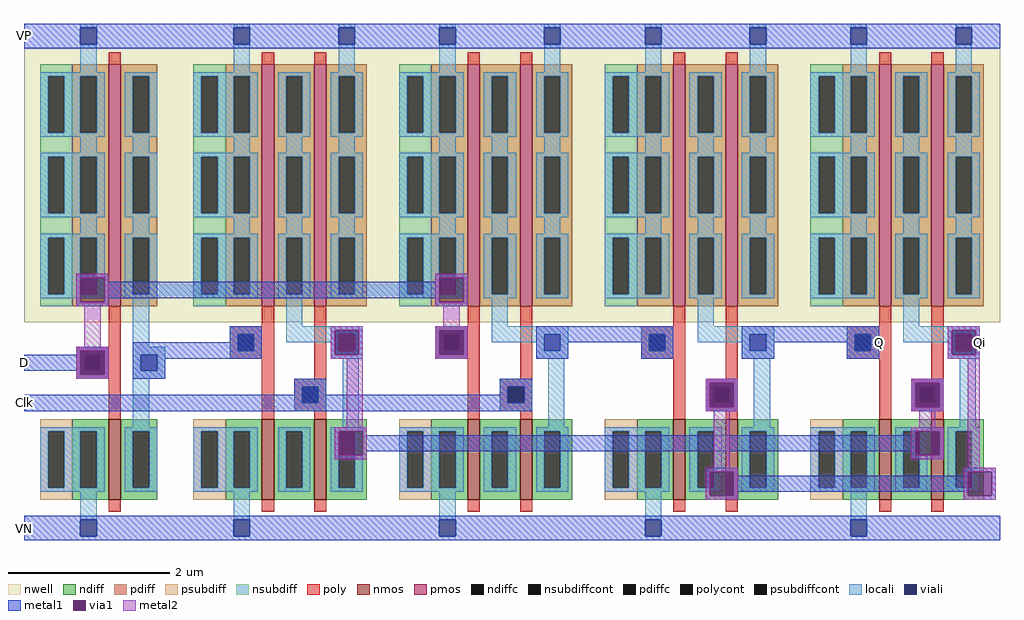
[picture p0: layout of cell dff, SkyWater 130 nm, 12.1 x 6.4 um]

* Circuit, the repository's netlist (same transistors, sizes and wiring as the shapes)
* NGSPICE file created from dff.ext - technology: sky130A

.subckt nand A B OUT VP VN
X0 OUT B a_30_0# VN sky130_fd_pr__nfet_01v8 ad=0.5 pd=3 as=0.25 ps=1.5 w=1 l=0.15
X1 a_30_0# A VN VN sky130_fd_pr__nfet_01v8 ad=0.25 pd=1.5 as=0.45 ps=2.9 w=1 l=0.15
X2 OUT A VP VP sky130_fd_pr__pfet_01v8 ad=0.75 pd=3.5 as=1.35 ps=6.9 w=3 l=0.15
X3 VP B OUT VP sky130_fd_pr__pfet_01v8 ad=1.5 pd=7 as=0.75 ps=3.5 w=3 l=0.15
.ends

.subckt inverter A OUT VP VN
X0 OUT A VN VN sky130_fd_pr__nfet_01v8 ad=0.45 pd=2.9 as=0.45 ps=2.9 w=1 l=0.15
X1 OUT A VP VP sky130_fd_pr__pfet_01v8 ad=1.35 pd=6.9 as=1.35 ps=6.9 w=3 l=0.15
.ends

.subckt dff D Clk Q Qi VP VN
Xnand_3 nand_3/A Qi Q VP VN nand
Xinverter_1 D nand_0/A VP VN inverter
Xnand_0 nand_0/A Clk nand_2/B VP VN nand
Xnand_1 D Clk nand_3/A VP VN nand
Xnand_2 Q nand_2/B Qi VP VN nand
.ends

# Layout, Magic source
magic
tech sky130A
<< poly >>
rect 1055 225 1060 265
<< locali >>
rect 1055 225 1060 265
rect 1180 225 1185 265
<< metal1 >>
rect 0 610 15 640
rect 65 325 105 330
rect 65 295 70 325
rect 100 320 105 325
rect 510 325 550 330
rect 510 320 515 325
rect 100 300 515 320
rect 100 295 105 300
rect 65 290 105 295
rect 510 295 515 300
rect 545 295 550 325
rect 510 290 550 295
rect 255 245 295 265
rect 65 235 105 240
rect 65 230 70 235
rect 0 210 70 230
rect 65 205 70 210
rect 100 205 105 235
rect 65 200 105 205
rect 135 225 295 245
rect 380 260 420 265
rect 380 230 385 260
rect 415 230 420 260
rect 380 225 420 230
rect 510 260 550 265
rect 510 230 515 260
rect 545 230 550 260
rect 510 225 550 230
rect 635 245 805 265
rect 635 225 675 245
rect 765 225 805 245
rect 890 245 1060 265
rect 890 225 930 245
rect 1020 225 1060 245
rect 1145 260 1185 265
rect 1145 230 1150 260
rect 1180 230 1185 260
rect 1145 225 1185 230
rect 135 200 175 225
rect 335 180 375 200
rect 845 195 885 200
rect 0 160 590 180
rect 845 165 850 195
rect 880 165 885 195
rect 845 160 885 165
rect 1100 195 1140 200
rect 1100 165 1105 195
rect 1135 165 1140 195
rect 1100 160 1140 165
rect 385 135 425 140
rect 385 105 390 135
rect 420 130 425 135
rect 1100 135 1140 140
rect 1100 130 1105 135
rect 420 110 1105 130
rect 420 105 425 110
rect 385 100 425 105
rect 1100 105 1105 110
rect 1135 105 1140 135
rect 1100 100 1140 105
rect 845 85 885 90
rect 845 55 850 85
rect 880 80 885 85
rect 1165 85 1205 90
rect 1165 80 1170 85
rect 880 60 1170 80
rect 880 55 885 60
rect 845 50 885 55
rect 1165 55 1170 60
rect 1200 55 1205 85
rect 1165 50 1205 55
rect 0 0 15 30
<< via1 >>
rect 70 295 100 325
rect 515 295 545 325
rect 70 205 100 235
rect 385 230 415 260
rect 515 230 545 260
rect 1150 230 1180 260
rect 850 165 880 195
rect 1105 165 1135 195
rect 390 105 420 135
rect 1105 105 1135 135
rect 850 55 880 85
rect 1170 55 1200 85
<< metal2 >>
rect 65 325 105 330
rect 65 295 70 325
rect 100 295 105 325
rect 65 290 105 295
rect 510 325 550 330
rect 510 295 515 325
rect 545 295 550 325
rect 510 290 550 295
rect 75 240 95 290
rect 520 265 540 290
rect 380 260 420 265
rect 65 235 105 240
rect 65 205 70 235
rect 100 205 105 235
rect 380 230 385 260
rect 415 230 420 260
rect 380 225 420 230
rect 510 260 550 265
rect 510 230 515 260
rect 545 230 550 260
rect 510 225 550 230
rect 1145 260 1185 265
rect 1145 230 1150 260
rect 1180 230 1185 260
rect 1145 225 1185 230
rect 65 200 105 205
rect 400 140 420 225
rect 845 195 885 200
rect 845 165 850 195
rect 880 165 885 195
rect 845 160 885 165
rect 1100 195 1140 200
rect 1100 165 1105 195
rect 1135 165 1140 195
rect 1100 160 1140 165
rect 385 135 425 140
rect 385 105 390 135
rect 420 105 425 135
rect 385 100 425 105
rect 855 90 875 160
rect 1110 140 1130 160
rect 1100 135 1140 140
rect 1100 105 1105 135
rect 1135 105 1140 135
rect 1100 100 1140 105
rect 1170 90 1185 225
rect 845 85 885 90
rect 845 55 850 85
rect 880 55 885 85
rect 845 50 885 55
rect 1165 85 1205 90
rect 1165 55 1170 85
rect 1200 55 1205 85
rect 1165 50 1205 55
use inverter  inverter_1
transform 1 0 105 0 1 50
box -105 -50 85 590
use nand  nand_0
transform 1 0 295 0 1 50
box -105 -50 150 590
use nand  nand_1
transform 1 0 550 0 1 50
box -105 -50 150 590
use nand  nand_2
transform 1 0 1060 0 1 50
box -105 -50 150 590
use nand  nand_3
transform 1 0 805 0 1 50
box -105 -50 150 590
<< labels >>
flabel metal1 0 210 0 230 3 FreeSans 200 0 0 0 D
port 1 e
flabel metal1 0 160 0 180 3 FreeSans 200 0 0 0 Clk
port 2 e
flabel metal1 0 610 0 640 3 FreeSans 200 0 0 0 VP
port 5 e
flabel metal1 0 0 0 30 3 FreeSans 200 0 0 0 VN
port 6 e
flabel metal1 1060 225 1060 265 1 FreeSans 200 0 0 0 Q
port 3 n
flabel metal2 1185 225 1185 265 1 FreeSans 200 0 0 0 Qi
port 4 n
<< end >>

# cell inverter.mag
magic
tech sky130A
<< nwell >>
rect -105 220 85 560
<< nmos >>
rect 0 0 15 100
<< pmos >>
rect 0 240 15 540
<< ndiff >>
rect -45 85 0 100
rect -45 15 -35 85
rect -15 15 0 85
rect -45 0 0 15
rect 15 85 60 100
rect 15 15 30 85
rect 50 15 60 85
rect 15 0 60 15
<< pdiff >>
rect -45 525 0 540
rect -45 455 -35 525
rect -15 455 0 525
rect -45 425 0 455
rect -45 355 -35 425
rect -15 355 0 425
rect -45 325 0 355
rect -45 255 -35 325
rect -15 255 0 325
rect -45 240 0 255
rect 15 525 60 540
rect 15 455 30 525
rect 50 455 60 525
rect 15 425 60 455
rect 15 355 30 425
rect 50 355 60 425
rect 15 325 60 355
rect 15 255 30 325
rect 50 255 60 325
rect 15 240 60 255
<< ndiffc >>
rect -35 15 -15 85
rect 30 15 50 85
<< pdiffc >>
rect -35 455 -15 525
rect -35 355 -15 425
rect -35 255 -15 325
rect 30 455 50 525
rect 30 355 50 425
rect 30 255 50 325
<< psubdiff >>
rect -85 85 -45 100
rect -85 15 -75 85
rect -55 15 -45 85
rect -85 0 -45 15
<< nsubdiff >>
rect -85 525 -45 540
rect -85 455 -75 525
rect -55 455 -45 525
rect -85 425 -45 455
rect -85 355 -75 425
rect -55 355 -45 425
rect -85 325 -45 355
rect -85 255 -75 325
rect -55 255 -45 325
rect -85 240 -45 255
<< psubdiffcont >>
rect -75 15 -55 85
<< nsubdiffcont >>
rect -75 455 -55 525
rect -75 355 -55 425
rect -75 255 -55 325
<< poly >>
rect 0 540 15 555
rect 0 190 15 240
rect -40 180 15 190
rect -40 160 -30 180
rect -10 160 15 180
rect -40 150 15 160
rect 0 100 15 150
rect 0 -15 15 0
<< polycont >>
rect -30 160 -10 180
<< locali >>
rect -35 585 -15 590
rect -35 530 -15 565
rect -85 525 -5 530
rect -85 455 -75 525
rect -55 455 -35 525
rect -15 455 -5 525
rect -85 450 -5 455
rect 20 525 60 530
rect 20 455 30 525
rect 50 455 60 525
rect 20 450 60 455
rect -35 430 -15 450
rect 30 430 50 450
rect -85 425 -5 430
rect -85 355 -75 425
rect -55 355 -35 425
rect -15 355 -5 425
rect -85 350 -5 355
rect 20 425 60 430
rect 20 355 30 425
rect 50 355 60 425
rect 20 350 60 355
rect -35 330 -15 350
rect 30 330 50 350
rect -85 325 -5 330
rect -85 255 -75 325
rect -55 255 -35 325
rect -15 255 -5 325
rect -85 250 -5 255
rect 20 325 60 330
rect 20 255 30 325
rect 50 255 60 325
rect 20 250 60 255
rect 30 190 50 250
rect -40 180 0 190
rect -40 160 -30 180
rect -10 160 0 180
rect -40 150 0 160
rect 30 180 70 190
rect 30 160 40 180
rect 60 160 70 180
rect 30 150 70 160
rect 30 90 50 150
rect -85 85 -5 90
rect -85 15 -75 85
rect -55 15 -35 85
rect -15 15 -5 85
rect -85 10 -5 15
rect 20 85 60 90
rect 20 15 30 85
rect 50 15 60 85
rect 20 10 60 15
rect -35 -25 -15 10
<< viali >>
rect -35 565 -15 585
rect -30 160 -10 180
rect 40 160 60 180
rect -35 -45 -15 -25
<< metal1 >>
rect -105 585 85 590
rect -105 565 -35 585
rect -15 565 85 585
rect -105 560 85 565
rect -40 180 0 190
rect -40 160 -30 180
rect -10 160 0 180
rect -40 150 0 160
rect 30 180 70 190
rect 30 160 40 180
rect 60 160 70 180
rect 30 150 70 160
rect -105 -25 85 -20
rect -105 -45 -35 -25
rect -15 -45 85 -25
rect -105 -50 85 -45
<< labels >>
flabel metal1 -40 150 -40 190 1 FreeSans 200 0 0 0 A
port 1 n
flabel metal1 70 150 70 190 1 FreeSans 200 0 0 0 OUT
port 2 n
flabel metal1 -105 560 -105 590 3 FreeSans 200 0 0 0 VP
port 3 e
flabel metal1 -105 -50 -105 -20 3 FreeSans 200 0 0 0 VN
port 4 e
<< end >>

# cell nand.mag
magic
tech sky130A
<< nwell >>
rect -105 220 150 560
<< nmos >>
rect 0 0 15 100
rect 65 0 80 100
<< pmos >>
rect 0 240 15 540
rect 65 240 80 540
<< ndiff >>
rect -45 85 0 100
rect -45 15 -35 85
rect -15 15 0 85
rect -45 0 0 15
rect 15 85 65 100
rect 15 15 30 85
rect 50 15 65 85
rect 15 0 65 15
rect 80 85 130 100
rect 80 15 95 85
rect 115 15 130 85
rect 80 0 130 15
<< pdiff >>
rect -45 525 0 540
rect -45 455 -35 525
rect -15 455 0 525
rect -45 425 0 455
rect -45 355 -35 425
rect -15 355 0 425
rect -45 325 0 355
rect -45 255 -35 325
rect -15 255 0 325
rect -45 240 0 255
rect 15 525 65 540
rect 15 455 30 525
rect 50 455 65 525
rect 15 425 65 455
rect 15 355 30 425
rect 50 355 65 425
rect 15 325 65 355
rect 15 255 30 325
rect 50 255 65 325
rect 15 240 65 255
rect 80 525 130 540
rect 80 455 95 525
rect 115 455 130 525
rect 80 425 130 455
rect 80 355 95 425
rect 115 355 130 425
rect 80 325 130 355
rect 80 255 95 325
rect 115 255 130 325
rect 80 240 130 255
<< ndiffc >>
rect -35 15 -15 85
rect 30 15 50 85
rect 95 15 115 85
<< pdiffc >>
rect -35 455 -15 525
rect -35 355 -15 425
rect -35 255 -15 325
rect 30 455 50 525
rect 30 355 50 425
rect 30 255 50 325
rect 95 455 115 525
rect 95 355 115 425
rect 95 255 115 325
<< psubdiff >>
rect -85 85 -45 100
rect -85 15 -75 85
rect -55 15 -45 85
rect -85 0 -45 15
<< nsubdiff >>
rect -85 525 -45 540
rect -85 455 -75 525
rect -55 455 -45 525
rect -85 425 -45 455
rect -85 355 -75 425
rect -55 355 -45 425
rect -85 325 -45 355
rect -85 255 -75 325
rect -55 255 -45 325
rect -85 240 -45 255
<< psubdiffcont >>
rect -75 15 -55 85
<< nsubdiffcont >>
rect -75 455 -55 525
rect -75 355 -55 425
rect -75 255 -55 325
<< poly >>
rect 0 540 15 555
rect 65 540 80 555
rect 0 215 15 240
rect -40 205 15 215
rect -40 185 -30 205
rect -10 185 15 205
rect -40 175 15 185
rect 0 100 15 175
rect 65 150 80 240
rect 40 140 80 150
rect 40 120 50 140
rect 70 120 80 140
rect 40 110 80 120
rect 65 100 80 110
rect 0 -15 15 0
rect 65 -15 80 0
<< polycont >>
rect -30 185 -10 205
rect 50 120 70 140
<< locali >>
rect -35 585 -15 590
rect -35 530 -15 565
rect 95 585 115 590
rect 95 530 115 565
rect -85 525 -5 530
rect -85 455 -75 525
rect -55 455 -35 525
rect -15 455 -5 525
rect -85 450 -5 455
rect 20 525 60 530
rect 20 455 30 525
rect 50 455 60 525
rect 20 450 60 455
rect 85 525 125 530
rect 85 455 95 525
rect 115 455 125 525
rect 85 450 125 455
rect -35 430 -15 450
rect 30 430 50 450
rect 95 430 115 450
rect -85 425 -5 430
rect -85 355 -75 425
rect -55 355 -35 425
rect -15 355 -5 425
rect -85 350 -5 355
rect 20 425 60 430
rect 20 355 30 425
rect 50 355 60 425
rect 20 350 60 355
rect 85 425 125 430
rect 85 355 95 425
rect 115 355 125 425
rect 85 350 125 355
rect -35 330 -15 350
rect 30 330 50 350
rect 95 330 115 350
rect -85 325 -5 330
rect -85 255 -75 325
rect -55 255 -35 325
rect -15 255 -5 325
rect -85 250 -5 255
rect 20 325 60 330
rect 20 255 30 325
rect 50 255 60 325
rect 20 250 60 255
rect 85 325 125 330
rect 85 255 95 325
rect 115 255 125 325
rect 85 250 125 255
rect 30 215 50 250
rect -40 205 0 215
rect -40 185 -30 205
rect -10 185 0 205
rect 30 205 125 215
rect 30 195 95 205
rect -40 175 0 185
rect 85 185 95 195
rect 115 185 125 205
rect 85 175 125 185
rect 40 140 80 150
rect 40 120 50 140
rect 70 120 80 140
rect 40 110 80 120
rect 100 90 120 175
rect -85 85 -5 90
rect -85 15 -75 85
rect -55 15 -35 85
rect -15 15 -5 85
rect -85 10 -5 15
rect 20 85 60 90
rect 20 15 30 85
rect 50 15 60 85
rect 20 10 60 15
rect 85 85 125 90
rect 85 15 95 85
rect 115 15 125 85
rect 85 10 125 15
rect -35 -25 -15 10
<< viali >>
rect -35 565 -15 585
rect 95 565 115 585
rect -30 185 -10 205
rect 95 185 115 205
rect 50 120 70 140
rect -35 -45 -15 -25
<< metal1 >>
rect -105 585 150 590
rect -105 565 -35 585
rect -15 565 95 585
rect 115 565 150 585
rect -105 560 150 565
rect -40 205 0 215
rect -40 185 -30 205
rect -10 185 0 205
rect -40 175 0 185
rect 85 205 125 215
rect 85 185 95 205
rect 115 185 125 205
rect 85 175 125 185
rect 40 140 80 150
rect 40 120 50 140
rect 70 120 80 140
rect 40 110 80 120
rect -105 -25 150 -20
rect -105 -45 -35 -25
rect -15 -45 150 -25
rect -105 -50 150 -45
<< labels >>
flabel metal1 -40 175 -40 215 1 FreeSans 200 0 0 0 A
port 1 n
flabel metal1 40 110 40 150 1 FreeSans 200 0 0 0 B
port 2 n
flabel metal1 125 175 125 215 1 FreeSans 200 0 0 0 OUT
port 3 n
flabel metal1 -105 560 -105 590 3 FreeSans 200 0 0 0 VP
port 4 e
flabel metal1 -105 -50 -105 -20 3 FreeSans 200 0 0 0 VN
port 5 e
<< end >>
